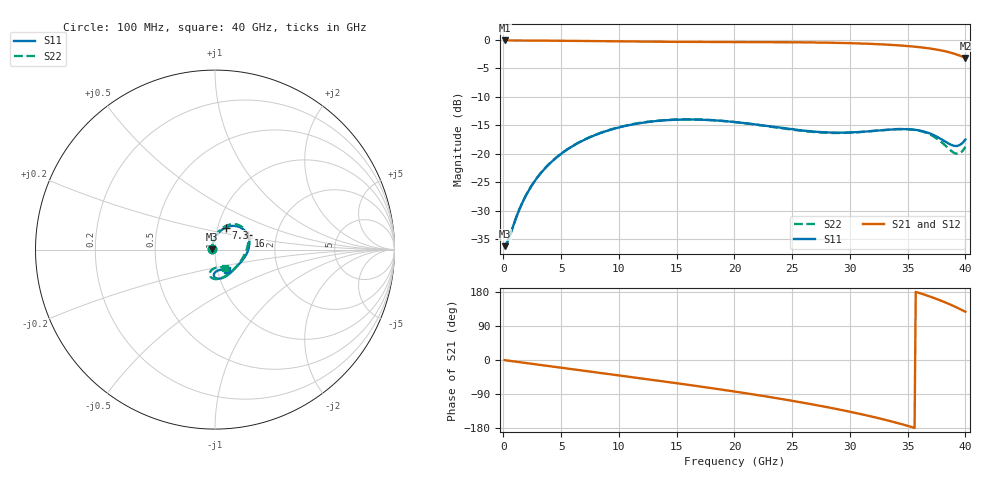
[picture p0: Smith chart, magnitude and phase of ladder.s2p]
! A_s4_d200_ap1000: via ladder as kisi uses it (kisi_si::via_pbm, graded grid, junction model), ports at the via
# Hz S RI R 50
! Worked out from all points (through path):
!   400 points, 100 MHz to 40 GHz, reference 50 ohm
!   highest |S21| = -0.13 dB at 100 MHz (marker M1); lowest = -3.2 dB at 40 GHz (marker M2)
!   group delay of S21, straight-line fit = 14.5 ps
!   lowest |S11| = -36.2 dB at 100 MHz (marker M3), VSWR 1.03, Z = 48.5 + j0.213 ohm
!   |S11| at or under -10 dB: start of sweep to end of sweep
!   |S22| runs from -36.2 to -14.0 dB; largest |S21 - S12| = 0
!   S11 on the Smith chart (normalised r, x): 100 MHz: 0.97, +0.00; 7.3 GHz: 1.09, +0.27; 16 GHz: 1.43, +0.23; 40 GHz: 1.11, -0.26
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1e8  -0.0153 0.0022  0.9847 -0.00705  0.9847 -0.00705  -0.0153 0.00219
4e8  -0.015 0.00877  0.9843 -0.0282  0.9843 -0.0282  -0.015 0.00877
1.6e9  -0.0111 0.0347  0.9776 -0.1125  0.9776 -0.1125  -0.0115 0.0347
2.8e9  -0.00261 0.0591  0.9631 -0.1955  0.9631 -0.1955  -0.00404 0.0593
4.6e9  0.0175 0.0909  0.9272 -0.3161  0.9272 -0.3161  0.0138 0.0921
6.8e9  0.051 0.1186  0.8623 -0.454  0.8623 -0.454  0.0439 0.1221
7.3e9  0.0594 0.1229  0.8447 -0.4836  0.8447 -0.4836  0.0516 0.1272
1.01e10  0.1084 0.1319  0.7277 -0.6357  0.7277 -0.6357  0.0967 0.1418
1.34e10  0.1584 0.112  0.5555 -0.7824  0.5555 -0.7824  0.145 0.1302
1.6e10  0.1832 0.0786  0.3964 -0.8701  0.3964 -0.8701  0.1716 0.1028
2.01e10  0.1887 0.012  0.1064 -0.9478  0.1064 -0.9478  0.1849 0.0396
2.35e10  0.1664 -0.0402  -0.1639 -0.9375  -0.1639 -0.9375  0.1693 -0.0183
2.67e10  0.1346 -0.0803  -0.4272 -0.8443  -0.4272 -0.8443  0.1387 -0.07
3.01e10  0.0976 -0.1185  -0.6837 -0.6334  -0.6837 -0.6334  0.0936 -0.1209
3.17e10  0.0775 -0.1367  -0.78 -0.4886  -0.78 -0.4886  0.067 -0.1422
3.34e10  0.0516 -0.1539  -0.8512 -0.3013  -0.8512 -0.3013  0.0338 -0.1594
3.53e10  0.0179 -0.1621  -0.8726 -0.0537  -0.8726 -0.0537  -0.00575 -0.163
3.7e10  -0.00503 -0.1492  -0.8128 0.1919  -0.8128 0.1919  -0.0292 -0.1431
3.8e10  -0.00384 -0.1323  -0.728 0.336  -0.728 0.336  -0.0254 -0.1218
3.91e10  0.0218 -0.1148  -0.5806 0.4745  -0.5806 0.4745  0.00565 -0.1006
3.95e10  0.0385 -0.1126  -0.5126 0.5138  -0.5126 0.5138  0.0249 -0.0976
4e10  0.0644 -0.1162  -0.4176 0.55  -0.4176 0.55  0.0544 -0.1007
